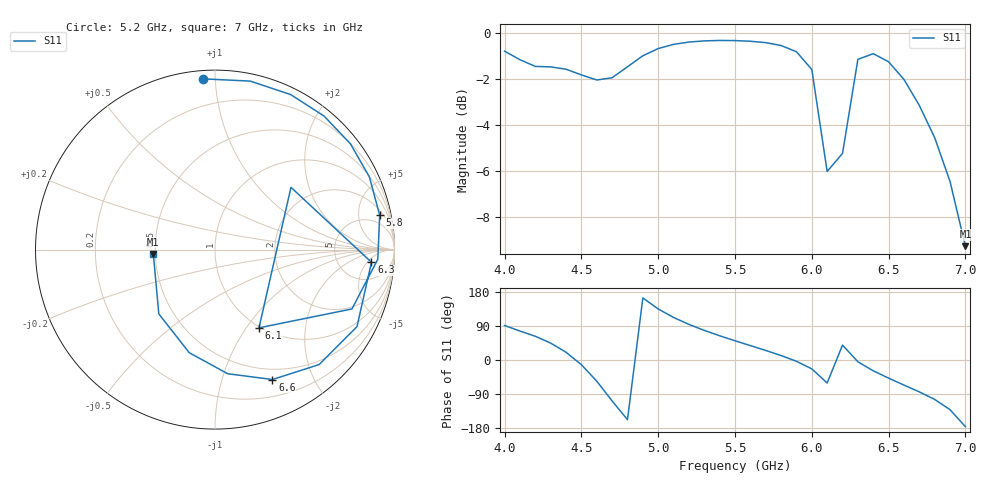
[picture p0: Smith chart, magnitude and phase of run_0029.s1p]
! Touchstone file exported from HFSS 2024.2.0
!  File:  C:/Users/wsak9/Desktop/Sim Fast/Widenad Patch/WP_AI_V1_sweep.aedt
!  Generated:  03:58:53 PM Oct 13, 2026
!  Design:  A1_model
!  Project:  WP_AI_V1_sweep
!  Setup:  Setup1
!  Solution:  Sweep
! Variables:
!  Air_gap = 1.69mm
!  Curve_Amp1 = 2.8
!  Curve_len1 = 1
!  Curve_pos = 9.995mm
!  Extra = 6.24mm
!  H_sub = 0.79mm
!  L_Patch = 15.99mm
!  L_Patch1 = 20.19mm
!  Sx = 4.04mm
!  Sy = 0.31mm
!  WS = 0.32mm
!  W_Patch = 21.54mm
!  W_Patch1 = 13.95mm
!Data is not renormalized
# GHz S MA
! Terminal data exported
! Port[1] = 1
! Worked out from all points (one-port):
!   31 points, 4 GHz to 7 GHz, reference per port
!   lowest |S11| = -9.3 dB at 7 GHz (marker M1), VSWR 2.05
!   |S11| at or under -10 dB: nowhere
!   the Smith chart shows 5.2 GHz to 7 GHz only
!   S11 on the Smith chart (normalised r, x): 5.2 GHz: 0.04, +0.93; 5.8 GHz: 2.80, +8.81; 6.1 GHz: 0.99, -1.15; 6.3 GHz: 11, -7; 6.6 GHz: 0.38, -1.47; 7 GHz: 0.49, -0.03
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4  0.9112 91.0
4.2  0.8444 62.5
4.3  0.8426 44.6
4.4  0.8328 20.3
4.5  0.8095 -12.5
4.6  0.7892 -55.9
4.7  0.7981 -108.1
4.8  0.843 -157.5
4.9  0.8905 163.8
5  0.9232 134.7
5.1  0.9426 112.3
5.2  0.9535 93.9
5.3  0.9592 78.1
5.5  0.9606 50.7
5.7  0.9507 25.2
5.8  0.9372 11.8
5.9  0.9086 -3.4
6  0.8317 -23.4
6.1  0.5001 -60.6
6.2  0.5472 39.3
6.3  0.8746 -4.6
6.4  0.8999 -28.5
6.5  0.8642 -47.8
6.6  0.7915 -66.1
6.7  0.6952 -84.2
6.8  0.592 -104.0
6.9  0.4757 -131.1
7  0.3446 -175.9
